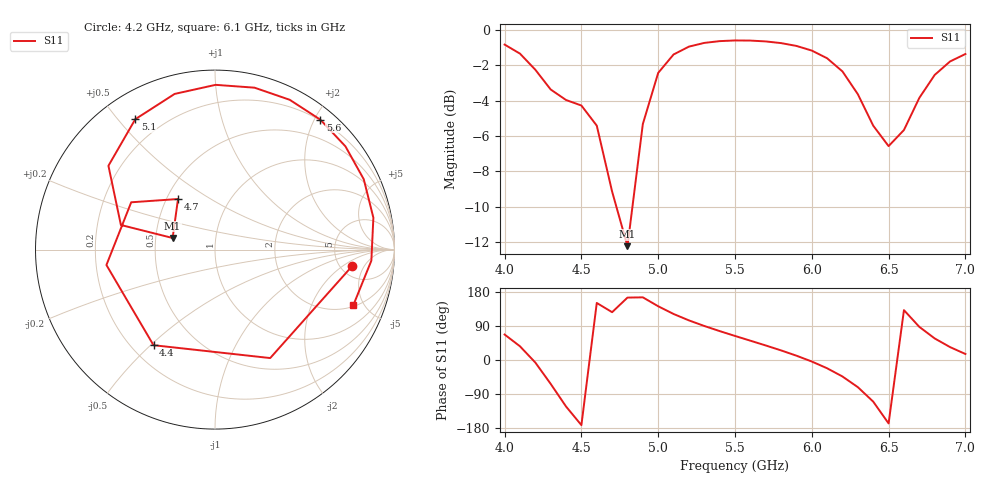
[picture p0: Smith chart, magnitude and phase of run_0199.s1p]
! Touchstone file exported from HFSS 2024.2.0
!  File:  C:/Users/wsak9/Desktop/Sim Fast/Widenad Patch/WP_AI_V1_sweep.aedt
!  Generated:  11:16:13 PM Oct 13, 2026
!  Design:  A1_model
!  Project:  WP_AI_V1_sweep
!  Setup:  Setup1
!  Solution:  Sweep
! Variables:
!  Air_gap = 2.36mm
!  Curve_Amp1 = 3.05
!  Curve_len1 = 1
!  Curve_pos = 11.485mm
!  Extra = 6.42mm
!  H_sub = 0.79mm
!  L_Patch = 18.97mm
!  L_Patch1 = 15.15mm
!  Sx = 0.8mm
!  Sy = 2.4mm
!  WS = 0.44mm
!  W_Patch = 19.64mm
!  W_Patch1 = 8.73mm
!Data is not renormalized
# GHz S MA
! Terminal data exported
! Port[1] = 1
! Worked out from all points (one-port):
!   31 points, 4 GHz to 7 GHz, reference per port
!   lowest |S11| = -12.2 dB at 4.8 GHz (marker M1), VSWR 1.65
!   |S11| at or under -10 dB: 4.728 GHz to 4.832 GHz (104.3 MHz wide, 2.18 % of centre)
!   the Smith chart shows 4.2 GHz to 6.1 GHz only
!   S11 on the Smith chart (normalised r, x): 4.2 GHz: 6.44, -2.86; 4.4 GHz: 0.29, -0.51; 4.7 GHz: 0.57, +0.37; 5.1 GHz: 0.11, +0.56; 5.6 GHz: 0.19, +2.08; 6.1 GHz: 2.09, -4.17
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4  0.9081 67.2
4.1  0.8562 36.2
4.2  0.7711 -6.7
4.3  0.6781 -63.0
4.4  0.6333 -122.8
4.5  0.611 -171.9
4.6  0.5361 150.5
4.7  0.3491 126.2
4.8  0.2449 164.7
4.9  0.5419 165.3
5  0.7554 141.8
5.1  0.8514 121.4
5.2  0.896 104.5
5.3  0.918 89.8
5.5  0.9327 63.5
5.6  0.932 51.0
5.8  0.9168 25.3
5.9  0.9001 11.4
6.1  0.8306 -21.9
6.2  0.7623 -43.6
6.3  0.6574 -71.7
6.4  0.5359 -109.9
6.5  0.4693 -167.4
6.6  0.5211 131.6
6.7  0.6421 87.5
6.8  0.7453 56.9
6.9  0.8136 34.1
7  0.854 15.9
